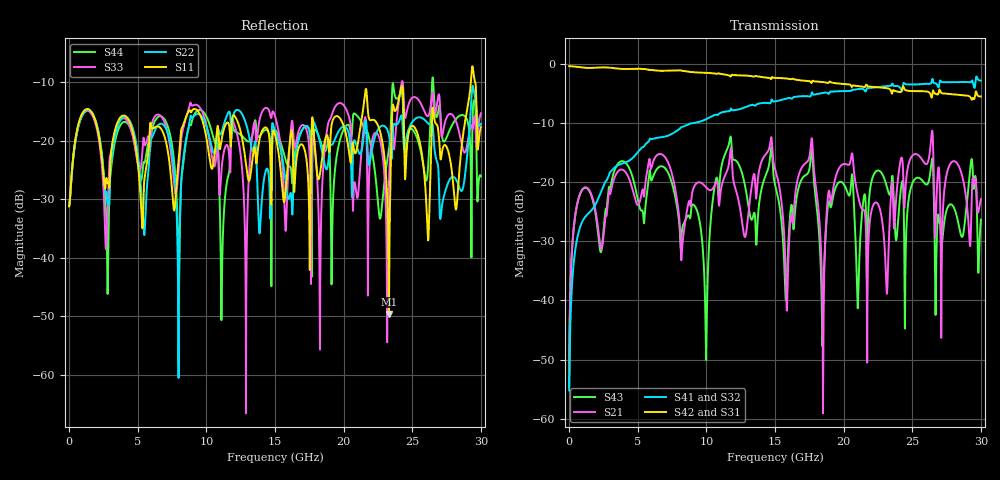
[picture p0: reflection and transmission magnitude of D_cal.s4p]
!MTL model of D_cal, calibrated on full-wave A (medium)
# Hz S RI R 50.0
!freq ReS11 ImS11 ReS12 ImS12 ReS13 ImS13
! ReS14 ImS14
! ReS21 ImS21 ReS22 ImS22 ReS23 ImS23
! ReS24 ImS24
! ReS31 ImS31 ReS32 ImS32 ReS33 ImS33
! ReS34 ImS34
! ReS41 ImS41 ReS42 ImS42 ReS43 ImS43
! ReS44 ImS44
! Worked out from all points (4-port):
!   3000 points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, 10 MHz to 30 GHz, reference 50 ohm
!   strongest paths, dB at 10 MHz, 7.51 GHz, 15.01 GHz, 22.51 GHz, 30 GHz:
!     S42: -0.4, -1.1, -2.4, -4.0, -5.5
!     S31: -0.4, -1.1, -2.5, -4.1, -5.8
!     S41: -55.2, -11.8, -6.4, -4.0, -2.8
!     S32: -55.2, -11.9, -6.5, -4.0, -3.0
!     S21: -54.6, -18.7, -17.8, -23.8, -22.9
!     S43: -54.6, -20.2, -20.5, -18.0, -26.3
!   lowest |S11| = -49.6 dB at 23.3 GHz (marker M1), VSWR 1.01, Z = 50.3 + j0.0545 ohm
!   |S11| at or under -10 dB: start of sweep to 29.27 GHz; 29.6 GHz to end of sweep
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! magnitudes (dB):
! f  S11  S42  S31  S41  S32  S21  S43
! 10 MHz  -31.2  -0.4  -0.4  -55.2  -55.2  -54.6  -54.6
! 6.55 GHz  -17.6  -1.2  -1.2  -12.5  -12.7  -15.3  -17.5
! 7.97 GHz  -23.6  -1.1  -1.2  -11.2  -11.1  -24.7  -25.7
! 9.98 GHz  -19.1  -1.5  -1.5  -9.4  -9.4  -20.9  -49.7
! 11.68 GHz  -17.6  -2.0  -2.0  -8.0  -8.4  -16.4  -13.3
! 23.3 GHz  -49.6  -4.2  -4.2  -3.8  -3.9  -29.9  -22.0
! 30 GHz  -17.7  -5.5  -5.8  -2.8  -3.0  -22.9  -26.3
